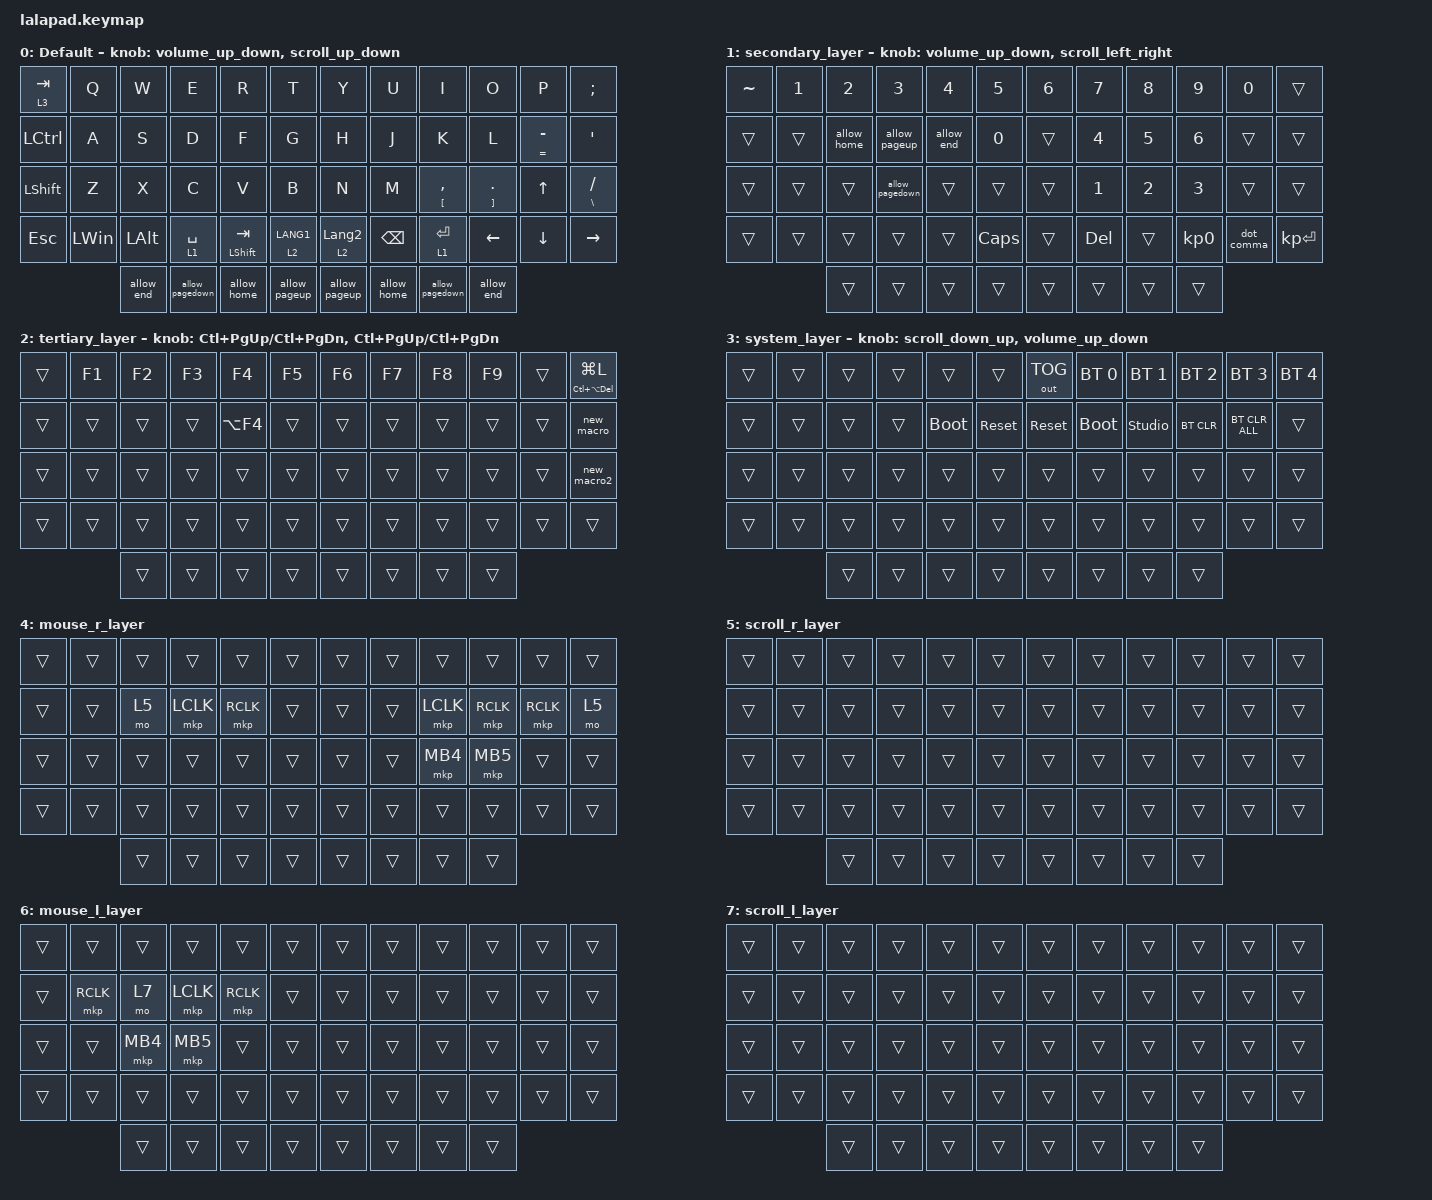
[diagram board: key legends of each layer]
#include <input/processors.dtsi>
#include <behaviors.dtsi>
#include <dt-bindings/zmk/bt.h>
#include <dt-bindings/zmk/keys.h>
#include <dt-bindings/zmk/outputs.h>
#include <dt-bindings/zmk/pointing.h>

#define DEFAULT_LAYER   0
#define SECONDARY_LAYER 1
#define TERTIARY_LAYER  2
#define SYSTEM_LAYER    3
#define MOUSE_R_LAYER   4
#define SCROLL_R_LAYER  5
#define MOUSE_L_LAYER   6
#define SCROLL_L_LAYER  7

// Mouse Scroll Value

#define ZMK_POINTING_DEFAULT_SCRL_VAL 100

// cirque trackpad input&layer control

&glidepoint_listener_R {
    input-processors =
        <&zip_xy_transform (INPUT_TRANSFORM_XY_SWAP | INPUT_TRANSFORM_X_INVERT | INPUT_TRANSFORM_Y_INVERT)>,
        <&zip_xy_scaler 3 2>,
        <&zip_temp_layer MOUSE_R_LAYER 500>;

    lowspeedmode {
        layers = <SECONDARY_LAYER>;
        input-processors =
            <&zip_xy_transform (INPUT_TRANSFORM_XY_SWAP | INPUT_TRANSFORM_X_INVERT | INPUT_TRANSFORM_Y_INVERT)>,
            <&zip_xy_scaler 3 5>,
            <&zip_temp_layer MOUSE_R_LAYER 500>;
    };

    scroller {
        layers = <SCROLL_R_LAYER>;
        input-processors =
            <&zip_xy_to_scroll_mapper>,
            <&zip_scroll_transform (INPUT_TRANSFORM_XY_SWAP | INPUT_TRANSFORM_Y_INVERT)>,
            <&zip_scroll_scaler 1 8>;
    };
};

&glidepoint_listener_L {
    input-processors =
        <&zip_xy_transform (INPUT_TRANSFORM_XY_SWAP | INPUT_TRANSFORM_X_INVERT | INPUT_TRANSFORM_Y_INVERT)>,
        <&zip_xy_scaler 3 2>,
        <&zip_temp_layer MOUSE_L_LAYER 500>;

    lowspeedmode {
        layers = <SECONDARY_LAYER>;
        input-processors =
            <&zip_xy_transform (INPUT_TRANSFORM_XY_SWAP | INPUT_TRANSFORM_X_INVERT | INPUT_TRANSFORM_Y_INVERT)>,
            <&zip_xy_scaler 3 4>,
            <&zip_temp_layer MOUSE_L_LAYER 500>;
    };

    scroller {
        layers = <SCROLL_L_LAYER>;
        input-processors =
            <&zip_xy_to_scroll_mapper>,
            <&zip_scroll_transform (INPUT_TRANSFORM_XY_SWAP | INPUT_TRANSFORM_Y_INVERT)>,
            <&zip_scroll_scaler 1 6>;
    };
};

/ {
    behaviors {
        // Encoder to Mouse Scroll

        scroll_up_down: sensor_scroll_up_down {
            compatible = "zmk,behavior-sensor-rotate";
            #sensor-binding-cells = <0>;
            bindings = <&msc SCRL_UP>, <&msc SCRL_DOWN>;

            tap-ms = <20>;
            label = "SCROLL_UP_DOWN";
        };

        scroll_down_up: sensor_scroll_down_up {
            compatible = "zmk,behavior-sensor-rotate";
            #sensor-binding-cells = <0>;
            bindings = <&msc SCRL_DOWN>, <&msc SCRL_UP>;

            tap-ms = <20>;
            label = "SCROLL_DOWN_UP";
        };

        scroll_left_right: sensor_scroll_left_right {
            compatible = "zmk,behavior-sensor-rotate";
            #sensor-binding-cells = <0>;
            bindings = <&msc SCRL_LEFT>, <&msc SCRL_RIGHT>;

            tap-ms = <20>;
            label = "SCROLL_LEFT_RIGHT";
        };

        scroll_right_left: sensor_scroll_right_left {
            compatible = "zmk,behavior-sensor-rotate";
            #sensor-binding-cells = <0>;
            bindings = <&msc SCRL_RIGHT>, <&msc SCRL_LEFT>;

            tap-ms = <20>;
            label = "SCROLL_RIGHT_LEFT";
        };

        volume_up_down: sensor_volume_up_down {
            compatible = "zmk,behavior-sensor-rotate";
            #sensor-binding-cells = <0>;
            bindings = <&kp C_VOLUME_UP>, <&kp C_VOLUME_DOWN>;

            tap-ms = <20>;
            label = "VOLUME_UP_DOWN";
        };

        dot_comma: dot_comma {
            compatible = "zmk,behavior-mod-morph";
            #binding-cells = <0>;
            bindings = <&kp KP_DOT>, <&kp COMMA>;

            mods = <(MOD_LSFT|MOD_RSFT)>;
            label = "DOT_COMMA";
        };

        pls_minus: pls_minus {
            compatible = "zmk,behavior-mod-morph";
            #binding-cells = <0>;
            bindings = <&kp PLUS>, <&kp MINUS>;

            mods = <(MOD_LSFT|MOD_RSFT)>;
            label = "PLS_MINUS";
        };

        allow_pageup: allow_pageup {
            compatible = "zmk,behavior-mod-morph";
            #binding-cells = <0>;
            bindings = <&kp UP>, <&kp PAGE_UP>;

            mods = <(MOD_LCTL|MOD_RCTL)>;
            label = "ALLOW_PAGEUP";
        };

        allow_pagedown: allow_pagedown {
            compatible = "zmk,behavior-mod-morph";
            #binding-cells = <0>;
            bindings = <&kp DOWN>, <&kp PAGE_DOWN>;

            mods = <(MOD_LCTL|MOD_RCTL)>;
            label = "ALLOW_PAGEDOWN";
        };

        allow_home: allow_home {
            compatible = "zmk,behavior-mod-morph";
            #binding-cells = <0>;
            bindings = <&kp LEFT>, <&kp HOME>;

            mods = <(MOD_LCTL|MOD_RCTL)>;
            label = "ALLOW_HOME";
        };

        allow_end: allow_end {
            compatible = "zmk,behavior-mod-morph";
            #binding-cells = <0>;
            bindings = <&kp RIGHT>, <&kp END>;

            mods = <(MOD_LCTL|MOD_RCTL)>;
            label = "ALLOW_END";
        };

        mt2: mod_tap2 {
            compatible = "zmk,behavior-hold-tap";
            #binding-cells = <2>;
            flavor = "tap-preferred";
            tapping-term-ms = <200>;
            quick-tap-ms = <200>;
            require-prior-idle-ms = <125>;
            bindings = <&kp>, <&kp>;
        };
    };

    macros {
        new_macro: new_macro {
            compatible = "zmk,behavior-macro";
            #binding-cells = <0>;
            bindings = <&kp E &kp T &kp O &kp H &kp NUMBER_0 &kp NUMBER_5 &kp NUMBER_1 &kp NUMBER_5 &kp NUMBER_9 &kp NUMBER_3 &kp ENTER>;
            label = "NEW_MACRO";
        };

        new_macro2: new_macro2 {
            compatible = "zmk,behavior-macro";
            #binding-cells = <0>;
            bindings = <&kp NUMBER_5 &kp NUMBER_1 &kp NUMBER_5 &kp NUMBER_9 &kp NUMBER_3 &kp TAB &kp E &kp T &kp O &kp H &kp NUMBER_0 &kp NUMBER_5 &kp NUMBER_1 &kp NUMBER_5 &kp NUMBER_9 &kp NUMBER_3 &kp ENTER>;
            label = "NEW_MACRO2";
        };
    };

    keymap {
        compatible = "zmk,keymap";

        DEFAULT_LAYER {
            display-name = "Default";
            sensor-bindings = <&volume_up_down>, <&scroll_up_down>;

            bindings = <
&lt 3 TAB  &kp Q         &kp W         &kp E            &kp R               &kp T          &kp Y             &kp U          &kp I                   &kp O                     &kp P             &kp SEMICOLON
&kp LCTRL  &kp A         &kp S         &kp D            &kp F               &kp G          &kp H             &kp J          &kp K                   &kp L                     &mt2 EQUAL MINUS  &kp SQT
&kp LSHFT  &kp Z         &kp X         &kp C            &kp V               &kp B          &kp N             &kp M          &mt LEFT_BRACKET COMMA  &mt RIGHT_BRACKET PERIOD  &kp UP_ARROW      &mt BACKSLASH SLASH
&kp ESC    &kp LEFT_WIN  &kp LEFT_ALT  &lt 1 SPACE      &mt LEFT_SHIFT TAB  &lt 2 LANG1    &lt 2 LANGUAGE_2  &kp BACKSPACE  &lt 1 ENTER             &kp LEFT                  &kp DOWN          &kp RIGHT
                         &allow_end    &allow_pagedown  &allow_home         &allow_pageup  &allow_pageup     &allow_home    &allow_pagedown         &allow_end
            >;
        };

        SECONDARY_LAYER {
            display-name = "secondary_layer";
            sensor-bindings = <&volume_up_down>, <&scroll_left_right>;

            bindings = <
&kp TILDE  &kp NUMBER_1  &kp NUMBER_2  &kp NUMBER_3     &kp NUMBER_4  &kp NUMBER_5  &kp NUMBER_6  &kp N7        &kp N8        &kp N9           &kp N0      &trans
&trans     &trans        &allow_home   &allow_pageup    &allow_end    &kp NUMBER_0  &trans        &kp NUMBER_4  &kp N5        &kp NUMBER_6     &trans      &trans
&trans     &trans        &trans        &allow_pagedown  &trans        &trans        &trans        &kp NUMBER_1  &kp NUMBER_2  &kp NUMBER_3     &trans      &trans
&trans     &trans        &trans        &trans           &trans        &kp CAPS      &trans        &kp DELETE    &trans        &kp KP_NUMBER_0  &dot_comma  &kp KP_ENTER
                         &trans        &trans           &trans        &trans        &trans        &trans        &trans        &trans
            >;
        };

        TERTIARY_LAYER {
            display-name = "tertiary_layer";
            bindings = <
&trans  &kp F1  &kp F2  &kp F3  &kp F4      &kp F5  &kp F6  &kp F7  &kp F8  &kp F9  &trans  &mt LC(LA(DELETE)) LG(L)
&trans  &trans  &trans  &trans  &kp LA(F4)  &trans  &trans  &trans  &trans  &trans  &trans  &new_macro
&trans  &trans  &trans  &trans  &trans      &trans  &trans  &trans  &trans  &trans  &trans  &new_macro2
&trans  &trans  &trans  &trans  &trans      &trans  &trans  &trans  &trans  &trans  &trans  &trans
                &trans  &trans  &trans      &trans  &trans  &trans  &trans  &trans
            >;

            sensor-bindings =
                <&inc_dec_kp LC(PAGE_UP) LC(PAGE_DOWN)>,
                <&inc_dec_kp LC(PAGE_UP) LC(PAGE_DOWN)>;
        };

        SYSTEM_LAYER {
            display-name = "system_layer";
            sensor-bindings = <&scroll_down_up>, <&volume_up_down>;

            bindings = <
&trans  &trans  &trans  &trans  &trans       &trans      &out OUT_TOG  &bt BT_SEL 0  &bt BT_SEL 1    &bt BT_SEL 2  &bt BT_SEL 3    &bt BT_SEL 4
&trans  &trans  &trans  &trans  &bootloader  &sys_reset  &sys_reset    &bootloader   &studio_unlock  &bt BT_CLR    &bt BT_CLR_ALL  &trans
&trans  &trans  &trans  &trans  &trans       &trans      &trans        &trans        &trans          &trans        &trans          &trans
&trans  &trans  &trans  &trans  &trans       &trans      &trans        &trans        &trans          &trans        &trans          &trans
                &trans  &trans  &trans       &trans      &trans        &trans        &trans          &trans
            >;
        };

        MOUSE_R_LAYER {
            display-name = "mouse_r_layer";
            bindings = <
&trans  &trans  &trans  &trans     &trans     &trans  &trans  &trans  &trans     &trans     &trans     &trans
&trans  &trans  &mo 5   &mkp LCLK  &mkp RCLK  &trans  &trans  &trans  &mkp LCLK  &mkp RCLK  &mkp RCLK  &mo 5
&trans  &trans  &trans  &trans     &trans     &trans  &trans  &trans  &mkp MB4   &mkp MB5   &trans     &trans
&trans  &trans  &trans  &trans     &trans     &trans  &trans  &trans  &trans     &trans     &trans     &trans
                &trans  &trans     &trans     &trans  &trans  &trans  &trans     &trans
            >;
        };

        SCROLL_R_LAYER {
            display-name = "scroll_r_layer";
            bindings = <
&trans  &trans  &trans  &trans  &trans  &trans  &trans  &trans  &trans  &trans  &trans  &trans
&trans  &trans  &trans  &trans  &trans  &trans  &trans  &trans  &trans  &trans  &trans  &trans
&trans  &trans  &trans  &trans  &trans  &trans  &trans  &trans  &trans  &trans  &trans  &trans
&trans  &trans  &trans  &trans  &trans  &trans  &trans  &trans  &trans  &trans  &trans  &trans
                &trans  &trans  &trans  &trans  &trans  &trans  &trans  &trans
            >;
        };

        MOUSE_L_LAYER {
            display-name = "mouse_l_layer";
            bindings = <
&trans  &trans     &trans    &trans     &trans     &trans  &trans  &trans  &trans  &trans  &trans  &trans
&trans  &mkp RCLK  &mo 7     &mkp LCLK  &mkp RCLK  &trans  &trans  &trans  &trans  &trans  &trans  &trans
&trans  &trans     &mkp MB4  &mkp MB5   &trans     &trans  &trans  &trans  &trans  &trans  &trans  &trans
&trans  &trans     &trans    &trans     &trans     &trans  &trans  &trans  &trans  &trans  &trans  &trans
                   &trans    &trans     &trans     &trans  &trans  &trans  &trans  &trans
            >;
        };

        SCROLL_L_LAYER {
            display-name = "scroll_l_layer";
            bindings = <
&trans  &trans  &trans  &trans  &trans  &trans  &trans  &trans  &trans  &trans  &trans  &trans
&trans  &trans  &trans  &trans  &trans  &trans  &trans  &trans  &trans  &trans  &trans  &trans
&trans  &trans  &trans  &trans  &trans  &trans  &trans  &trans  &trans  &trans  &trans  &trans
&trans  &trans  &trans  &trans  &trans  &trans  &trans  &trans  &trans  &trans  &trans  &trans
                &trans  &trans  &trans  &trans  &trans  &trans  &trans  &trans
            >;
        };
    };
};
